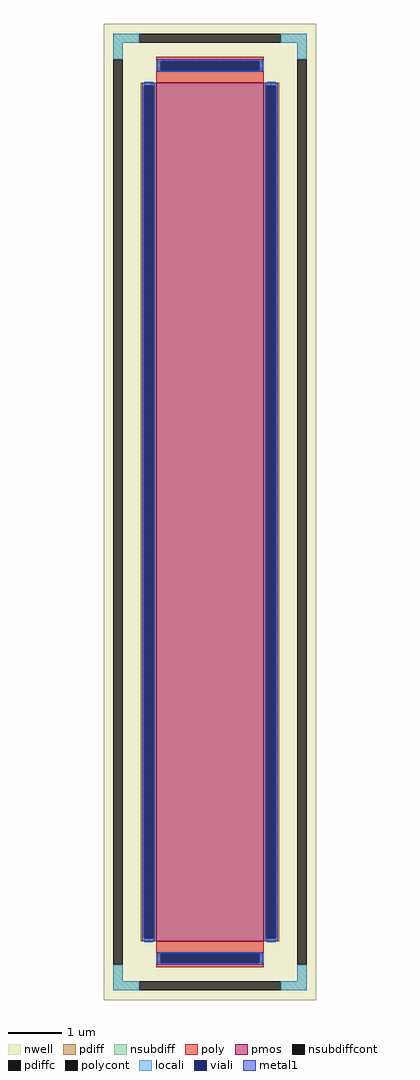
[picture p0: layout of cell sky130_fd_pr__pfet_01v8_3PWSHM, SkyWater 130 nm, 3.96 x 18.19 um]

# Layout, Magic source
magic
tech sky130A
magscale 1 2
<< nwell >>
rect -396 -1819 396 1819
<< pmos >>
rect -200 -1600 200 1600
<< pdiff >>
rect -258 1588 -200 1600
rect -258 -1588 -246 1588
rect -212 -1588 -200 1588
rect -258 -1600 -200 -1588
rect 200 1588 258 1600
rect 200 -1588 212 1588
rect 246 -1588 258 1588
rect 200 -1600 258 -1588
<< pdiffc >>
rect -246 -1588 -212 1588
rect 212 -1588 246 1588
<< nsubdiff >>
rect -360 1749 -264 1783
rect 264 1749 360 1783
rect -360 1687 -326 1749
rect 326 1687 360 1749
rect -360 -1749 -326 -1687
rect 326 -1749 360 -1687
rect -360 -1783 -264 -1749
rect 264 -1783 360 -1749
<< nsubdiffcont >>
rect -264 1749 264 1783
rect -360 -1687 -326 1687
rect 326 -1687 360 1687
rect -264 -1783 264 -1749
<< poly >>
rect -200 1681 200 1697
rect -200 1647 -184 1681
rect 184 1647 200 1681
rect -200 1600 200 1647
rect -200 -1647 200 -1600
rect -200 -1681 -184 -1647
rect 184 -1681 200 -1647
rect -200 -1697 200 -1681
<< polycont >>
rect -184 1647 184 1681
rect -184 -1681 184 -1647
<< locali >>
rect -360 1749 -264 1783
rect 264 1749 360 1783
rect -360 1687 -326 1749
rect 326 1687 360 1749
rect -200 1647 -184 1681
rect 184 1647 200 1681
rect -246 1588 -212 1604
rect -246 -1604 -212 -1588
rect 212 1588 246 1604
rect 212 -1604 246 -1588
rect -200 -1681 -184 -1647
rect 184 -1681 200 -1647
rect -360 -1749 -326 -1687
rect 326 -1749 360 -1687
rect -360 -1783 -264 -1749
rect 264 -1783 360 -1749
<< viali >>
rect -184 1647 184 1681
rect -246 -1588 -212 1588
rect 212 -1588 246 1588
rect -184 -1681 184 -1647
<< metal1 >>
rect -196 1681 196 1687
rect -196 1647 -184 1681
rect 184 1647 196 1681
rect -196 1641 196 1647
rect -252 1588 -206 1600
rect -252 -1588 -246 1588
rect -212 -1588 -206 1588
rect -252 -1600 -206 -1588
rect 206 1588 252 1600
rect 206 -1588 212 1588
rect 246 -1588 252 1588
rect 206 -1600 252 -1588
rect -196 -1647 196 -1641
rect -196 -1681 -184 -1647
rect 184 -1681 196 -1647
rect -196 -1687 196 -1681
<< properties >>
string FIXED_BBOX -343 -1766 343 1766
string gencell sky130_fd_pr__pfet_01v8
string library sky130
string parameters w 16 l 2 m 1 nf 1 diffcov 100 polycov 100 guard 1 glc 1 grc 1 gtc 1 gbc 1 tbcov 100 rlcov 100 topc 1 botc 1 poverlap 0 doverlap 1 lmin 0.15 wmin 0.42 compatible {sky130_fd_pr__pfet_01v8  sky130_fd_pr__pfet_01v8_lvt sky130_fd_pr__pfet_01v8_hvt  sky130_fd_pr__pfet_g5v0d10v5} full_metal 1 viasrc 100 viadrn 100 viagate 100 viagb 0 viagr 0 viagl 0 viagt 0
<< end >>
